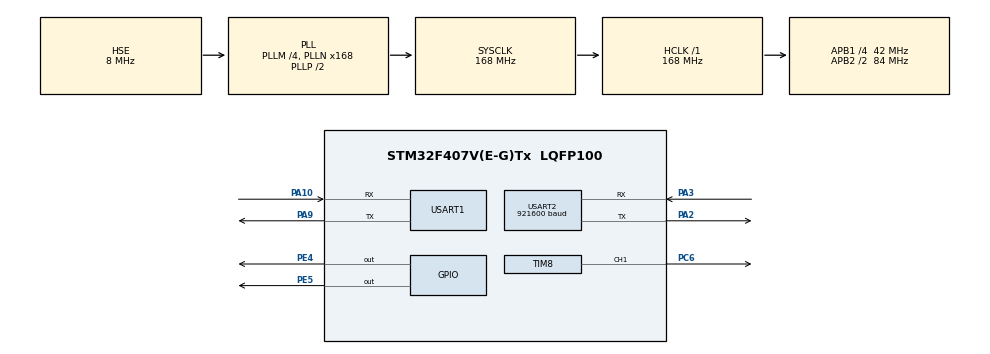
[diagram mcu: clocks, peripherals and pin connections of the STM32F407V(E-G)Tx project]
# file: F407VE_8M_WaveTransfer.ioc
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Mcu.Family=STM32F4
Mcu.Name=STM32F407V(E-G)Tx
Mcu.Package=LQFP100
NVIC.PriorityGroup=NVIC_PRIORITYGROUP_4
NVIC.TIM1_UP_TIM10_IRQn=true\:0\:0\:false\:false\:true\:true\:true
NVIC.USART1_IRQn=true\:1\:0\:true\:false\:true\:true\:true
NVIC.USART2_IRQn=true\:1\:0\:true\:false\:true\:true\:true
PA10.GPIO_PuPd=GPIO_PULLUP
PA10.Mode=Asynchronous
PA10.Signal=USART1_RX
PA13.Mode=Serial_Wire
PA13.Signal=SYS_JTMS-SWDIO
PA14.Mode=Serial_Wire
PA14.Signal=SYS_JTCK-SWCLK
PA2.GPIO_PuPd=GPIO_PULLUP
PA2.Mode=Asynchronous
PA2.Signal=USART2_TX
PA3.GPIO_PuPd=GPIO_PULLUP
PA3.Mode=Asynchronous
PA3.Signal=USART2_RX
PA9.GPIO_PuPd=GPIO_PULLUP
PA9.Mode=Asynchronous
PA9.Signal=USART1_TX
PC14-OSC32_IN.Mode=LSE-External-Oscillator
PC14-OSC32_IN.Signal=RCC_OSC32_IN
PC15-OSC32_OUT.Mode=LSE-External-Oscillator
PC15-OSC32_OUT.Signal=RCC_OSC32_OUT
PC6.Signal=S_TIM8_CH1
PE4.GPIO_ModeDefaultOutputPP=GPIO_MODE_OUTPUT_PP
PE4.GPIO_PuPd=GPIO_PULLUP
PE4.GPIO_Speed=GPIO_SPEED_FREQ_VERY_HIGH
PE4.PinState=GPIO_PIN_SET
PE4.Signal=GPIO_Output
PE5.GPIO_ModeDefaultOutputPP=GPIO_MODE_OUTPUT_PP
PE5.GPIO_PuPd=GPIO_PULLUP
PE5.GPIO_Speed=GPIO_SPEED_FREQ_VERY_HIGH
PE5.PinState=GPIO_PIN_SET
PE5.Signal=GPIO_Output
PH0-OSC_IN.Mode=HSE-External-Oscillator
PH0-OSC_IN.Signal=RCC_OSC_IN
PH1-OSC_OUT.Mode=HSE-External-Oscillator
PH1-OSC_OUT.Signal=RCC_OSC_OUT
ProjectManager.HeapSize=0x200
ProjectManager.StackSize=0x400
ProjectManager.TargetToolchain=MDK-ARM V5.32
RCC.48MHZClocksFreq_Value=84000000
RCC.AHBFreq_Value=168000000
RCC.APB1CLKDivider=RCC_HCLK_DIV4
RCC.APB1Freq_Value=42000000
RCC.APB1TimFreq_Value=84000000
RCC.APB2CLKDivider=RCC_HCLK_DIV2
RCC.APB2Freq_Value=84000000
RCC.APB2TimFreq_Value=168000000
RCC.CortexFreq_Value=168000000
RCC.HCLKFreq_Value=168000000
RCC.HSE_VALUE=8000000
RCC.HSI_VALUE=16000000
RCC.PLLM=4
RCC.PLLN=168
RCC.PLLSourceVirtual=RCC_PLLSOURCE_HSE
RCC.SYSCLKFreq_VALUE=168000000
RCC.SYSCLKSource=RCC_SYSCLKSOURCE_PLLCLK
RCC.VCOOutputFreq_Value=336000000
SH.S_TIM8_CH1.0=TIM8_CH1,PWM Generation1 CH1
TIM8.AutoReloadPreload=TIM_AUTORELOAD_PRELOAD_ENABLE
TIM8.Channel-PWM\ Generation1\ CH1=TIM_CHANNEL_1
TIM8.OCMode_PWM-PWM\ Generation1\ CH1=TIM_OCMODE_PWM2
TIM8.Period=3
TIM8.Prescaler=2
TIM8.Pulse-PWM\ Generation1\ CH1=2
TIM8.TIM_MasterOutputTrigger=TIM_TRGO_UPDATE
USART1.VirtualMode=VM_ASYNC
USART2.BaudRate=921600
USART2.VirtualMode=VM_ASYNC
VP_TIM10_VS_ClockSourceINT.Mode=Enable_Timer
VP_TIM8_VS_ClockSourceINT.Mode=Internal
board=custom

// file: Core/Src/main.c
/* USER CODE BEGIN Header */
/**
  ******************************************************************************
  * @file           : main.c
  * @brief          : Main program body
  ******************************************************************************
  * @attention
  *
  * <h2><center>&copy; Copyright (c) 2021 STMicroelectronics.
  * All rights reserved.</center></h2>
  *
  * This software component is licensed by ST under BSD 3-Clause license,
  * the "License"; You may not use this file except in compliance with the
  * License. You may obtain a copy of the License at:
  *                        opensource.org/licenses/BSD-3-Clause
  *
  ******************************************************************************
  */
/* USER CODE END Header */
#include "main.h"
#include "tim.h"
#include "usart.h"
#include "gpio.h"

/* USER CODE BEGIN Includes */
#include "node.h"
#include "PARAIO/paraio.h"
/* USER CODE END Includes */

/* USER CODE BEGIN PD */
#define UART2_BUF_LEN 100
/* USER CODE END PD */

/* USER CODE BEGIN PV */
MyUARTHandle uart1, uart2;
uint8_t uartBuf1[100], uartBuf2[UART2_BUF_LEN];
/* USER CODE END PV */

void SystemClock_Config(void);

int main(void)
{
  /* USER CODE BEGIN 1 */
  uint32_t i;
  uint8_t buf[512];
  /* USER CODE END 1 */

  /* MCU Configuration--------------------------------------------------------*/

  /* Reset of all peripherals, Initializes the Flash interface and the Systick. */
  HAL_Init();

  /* Configure the system clock */
  SystemClock_Config();

  /* Initialize all configured peripherals */
  MX_GPIO_Init();
  MX_USART1_UART_Init();
  MX_USART2_UART_Init();
  MX_TIM8_Init();
  MX_TIM10_Init();
  /* USER CODE BEGIN 2 */
  Delay_Init(168);
  MyUART_Init(&uart1, USART1, uartBuf1, 100);
  MyUART_Init(&uart2, USART2, uartBuf2, UART2_BUF_LEN);
  LL_TIM_EnableIT_UPDATE(TIM10);
  LL_TIM_EnableCounter(TIM10);
  printf("Wave Transfer\r\n");
  printf("Node: %c\r\n", NODE_ID);
#if NODE_ID == '0'
  Node_Replay_Init();
#elif NODE_ID == '1'
  Node_Acquire_Init();
#endif

  /* USER CODE END 2 */

  /* Infinite loop */
  while (1)
  {

    /* USER CODE BEGIN 3 */

    Node_EventLoop();
#if NODE_ID == '1'
    ParaIO_Start_In(buf, 512);
    while(!ParaIO_IsTranferCompleted_In())
      ;
    Delay_ms(200);
    for(i = 0; i < 512; i++)
    {
      printf("%d\r\n", buf[i]);
    }

#endif
  }
  /* USER CODE END 3 */
}

void SystemClock_Config(void)
{
  RCC_OscInitTypeDef RCC_OscInitStruct = {0};
  RCC_ClkInitTypeDef RCC_ClkInitStruct = {0};

  /** Configure the main internal regulator output voltage
  */
  __HAL_RCC_PWR_CLK_ENABLE();
  __HAL_PWR_VOLTAGESCALING_CONFIG(PWR_REGULATOR_VOLTAGE_SCALE1);
  /** Initializes the RCC Oscillators according to the specified parameters
  * in the RCC_OscInitTypeDef structure.
  */
  RCC_OscInitStruct.OscillatorType = RCC_OSCILLATORTYPE_HSE;
  RCC_OscInitStruct.HSEState = RCC_HSE_ON;
  RCC_OscInitStruct.PLL.PLLState = RCC_PLL_ON;
  RCC_OscInitStruct.PLL.PLLSource = RCC_PLLSOURCE_HSE;
  RCC_OscInitStruct.PLL.PLLM = 4;
  RCC_OscInitStruct.PLL.PLLN = 168;
  RCC_OscInitStruct.PLL.PLLP = RCC_PLLP_DIV2;
  RCC_OscInitStruct.PLL.PLLQ = 4;
  if (HAL_RCC_OscConfig(&RCC_OscInitStruct) != HAL_OK)
  {
    Error_Handler();
  }
  /** Initializes the CPU, AHB and APB buses clocks
  */
  RCC_ClkInitStruct.ClockType = RCC_CLOCKTYPE_HCLK|RCC_CLOCKTYPE_SYSCLK
                              |RCC_CLOCKTYPE_PCLK1|RCC_CLOCKTYPE_PCLK2;
  RCC_ClkInitStruct.SYSCLKSource = RCC_SYSCLKSOURCE_PLLCLK;
  RCC_ClkInitStruct.AHBCLKDivider = RCC_SYSCLK_DIV1;
  RCC_ClkInitStruct.APB1CLKDivider = RCC_HCLK_DIV4;
  RCC_ClkInitStruct.APB2CLKDivider = RCC_HCLK_DIV2;

  if (HAL_RCC_ClockConfig(&RCC_ClkInitStruct, FLASH_LATENCY_5) != HAL_OK)
  {
    Error_Handler();
  }
}

void Error_Handler(void)
{
  __disable_irq();
  while (1)
  {
  }
}

/************************ (C) COPYRIGHT STMicroelectronics *****END OF FILE****/
